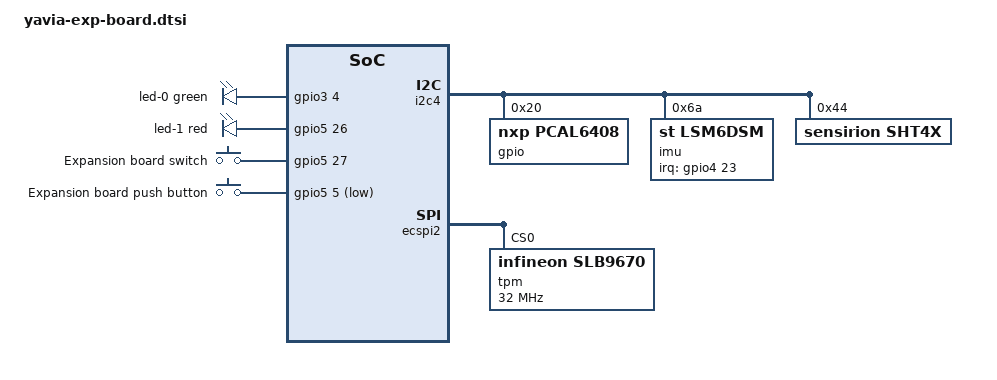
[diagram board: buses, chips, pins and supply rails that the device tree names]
// SPDX-License-Identifier: GPL-2.0-or-later OR MIT
/*
 * Copyright 2024 Embedded Labworks
 */

#include <dt-bindings/gpio/gpio.h>
#include <dt-bindings/leds/common.h>
#include <dt-bindings/input/linux-event-codes.h>

/ {
	leds-exp {
		compatible = "gpio-leds";

		led-0 {
			color = <LED_COLOR_ID_GREEN>;
			function = "exp";
			gpios = <&gpio3 4 GPIO_ACTIVE_HIGH>;
		};

		led-1 {
			color = <LED_COLOR_ID_RED>;
			function = "exp";
			gpios = <&gpio5 26 GPIO_ACTIVE_HIGH>;
		};
	};

	gpio-keys-exp {
		compatible = "gpio-keys";

		key-switch {
			label = "Expansion board switch";
			linux,code = <KEY_POWER>;
			gpios = <&gpio5 27 GPIO_ACTIVE_HIGH>;
			debounce-interval = <20>;
		};

		key-button {
			label = "Expansion board push button";
			linux,code = <KEY_ENTER>;
			gpios = <&gpio5 5 GPIO_ACTIVE_LOW>;
			debounce-interval = <10>;
			wakeup-source;
		};
	};
};

&i2c4 {
	/* PCAL6408 (GPIO expander connected to 7 segment display */
	gpio@20 {
		compatible = "nxp,pcal6408";
		reg = <0x20>;
		gpio-controller;
		#gpio-cells = <2>;
		gpio-line-names = "7seg-e",  "7seg-d", "7seg-c",
						  "7seg-dp", "7seg-b", "7seg-a",
						  "7seg-f",  "7seg-g";
	};

	/* LSM6DSM (IMU - accelerometer and gyroscope) */
	imu@6a {
		compatible = "st,lsm6dsm";
		pinctrl-0 = <&pinctrl_exp_imu>;
		pinctrl-names = "default";
		reg = <0x6a>;
		interrupt-parent = <&gpio4>;
		interrupts = <23 IRQ_TYPE_EDGE_RISING>;
	};

	/* SHT40 (humidity and temperature sensor) */
	sht4x@44 {
		compatible = "sensirion,sht4x";
		reg = <0x44>;
	};
};

&ecspi2 {
	/* Infinion TPM SLM9670 */
	tpm@0 {
		compatible = "infineon,slb9670", "tcg,tpm_tis-spi";
		spi-max-frequency = <32000000>;
		reg = <0>;
	};
};

&iomuxc {
	pinctrl_exp_imu: expimusgrp {
		fsl,pins =
			<MX8MM_IOMUXC_SAI2_RXD0_GPIO4_IO23 0x106>;
	};
};
